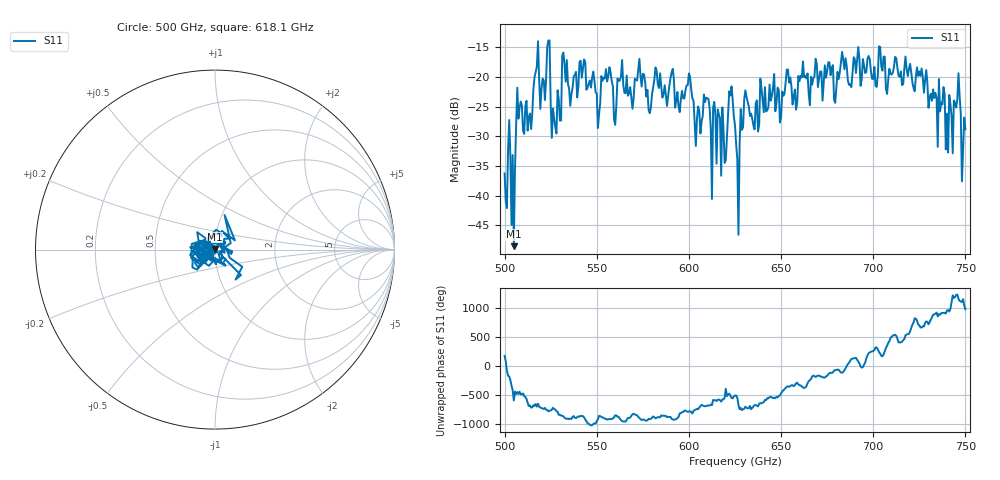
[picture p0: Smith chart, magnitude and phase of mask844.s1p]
!Created with skrf (http://scikit-rf.org).
# GHz S MA R 50.0
!freq magS11 angS11
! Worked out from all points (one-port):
!   401 points, 500 GHz to 750 GHz, reference 50 ohm
!   lowest |S11| = -48.5 dB at 505 GHz (marker M1), VSWR 1.01, Z = 49.8 + j0.281 ohm
!   |S11| at or under -10 dB: start of sweep to end of sweep
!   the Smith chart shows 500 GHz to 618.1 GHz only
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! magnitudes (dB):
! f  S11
! 500 GHz  -36.2
! 505 GHz  -48.5
! 507.5 GHz  -27.0
! 513.8 GHz  -26.1
! 516.9 GHz  -19.2
! 520.6 GHz  -20.3
! 523.8 GHz  -13.9
! 526.9 GHz  -27.0
! 531.2 GHz  -16.5
! 542.5 GHz  -18.6
! 550.6 GHz  -28.6
! 562.5 GHz  -20.6
! 590.6 GHz  -19.2
! 593.8 GHz  -22.6
! 600 GHz  -19.4
! 603.1 GHz  -27.7
! 609.4 GHz  -23.5
! 618.8 GHz  -28.8
! 622.5 GHz  -23.1
! 625 GHz  -28.1
! 626.2 GHz  -33.8
! 631.2 GHz  -23.3
! 656.2 GHz  -24.6
! 687.5 GHz  -21.3
! 718.8 GHz  -19.9
! 740.6 GHz  -32.7
! 745.6 GHz  -23.7
! 750 GHz  -28.8
